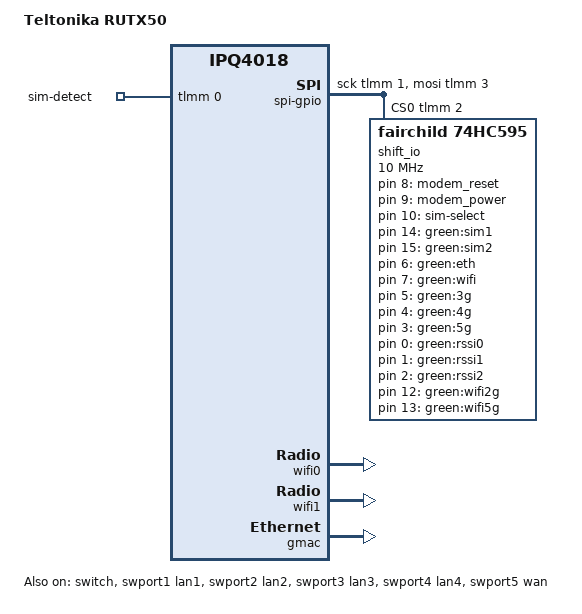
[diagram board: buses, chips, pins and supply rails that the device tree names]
// SPDX-License-Identifier: GPL-2.0-or-later OR MIT

#include "qcom-ipq4018-rutx.dtsi"

/ {
	model = "Teltonika RUTX50";
	compatible = "teltonika,rutx50";

	aliases {
		// TODO: Verify if the ethernet0 alias is needed
		ethernet0 = &gmac;
		led-boot = &led_rssi0;
		led-failsafe = &led_rssi0;
		led-running = &led_rssi0;
		led-upgrade = &led_rssi0;
		label-mac-device = &gmac;
	};

	soc {
		gpio-export {
			compatible = "gpio-export";
			#size-cells = <0>;

			gpio_modem_reset {
				gpio-export,name = "modem_reset";
				gpio-export,output = <0>;
				gpios = <&shift_io 8 GPIO_ACTIVE_HIGH>;
			};

			gpio_modem_power {
				gpio-export,name = "modem_power";
				gpio-export,output = <0>;
				gpios = <&shift_io 9 GPIO_ACTIVE_HIGH>;
			};

			gpio_out_1 {
				gpio-export,name = "sim-select";
				/* 0 = SIM1 ; 1 = SIM2 */
				gpio-export,output = <0>;
				gpios = <&shift_io 10 GPIO_ACTIVE_HIGH>;
			};

			gpio_in_1 {
				gpio-export,name = "sim-detect";
				gpio-export,input = <0>;
				gpios = <&tlmm 0 GPIO_ACTIVE_HIGH>;
			};
		};

		leds {
			compatible = "gpio-leds";

			led-0 {
				label = "green:sim1";
				gpios = <&shift_io 14 GPIO_ACTIVE_HIGH>;
			};

			led-1 {
				label = "green:sim2";
				gpios = <&shift_io 15 GPIO_ACTIVE_HIGH>;
			};

			led-2 {
				label = "green:eth";
				gpios = <&shift_io 6 GPIO_ACTIVE_HIGH>;
			};

			led-3 {
				label = "green:wifi";
				gpios = <&shift_io 7 GPIO_ACTIVE_HIGH>;
			};

			led-4 {
				label = "green:3g";
				gpios = <&shift_io 5 GPIO_ACTIVE_HIGH>;
			};

			led-5 {
				label = "green:4g";
				gpios = <&shift_io 4 GPIO_ACTIVE_HIGH>;
			};

			led-6 {
				label = "green:5g";
				gpios = <&shift_io 3 GPIO_ACTIVE_HIGH>;
			};

			led_rssi0: led-7 {
				label = "green:rssi0";
				gpios = <&shift_io 0 GPIO_ACTIVE_HIGH>;
			};

			led-8 {
				label = "green:rssi1";
				gpios = <&shift_io 1 GPIO_ACTIVE_HIGH>;
			};

			led-9 {
				label = "green:rssi2";
				gpios = <&shift_io 2 GPIO_ACTIVE_HIGH>;
			};

			led-10 {
				label = "green:wifi2g";
				gpios = <&shift_io 12 GPIO_ACTIVE_HIGH>;
			};

			led-11 {
				label = "green:wifi5g";
				gpios = <&shift_io 13 GPIO_ACTIVE_HIGH>;
			};
		};

		spi-gpio {
			compatible = "spi-gpio";
			#address-cells = <1>;
			#size-cells = <0>;

			gpio-sck = <&tlmm 1 GPIO_ACTIVE_HIGH>;
			gpio-mosi = <&tlmm 3 GPIO_ACTIVE_HIGH>;
			cs-gpios = <&tlmm 2 GPIO_ACTIVE_HIGH>;
			num-chipselects = <1>;

			shift_io: shift_io@0 {
				compatible = "fairchild,74hc595";
				reg = <0>;
				gpio-controller;
				#gpio-cells = <2>;
				/* Attn: This is specific to RUTX50 in Teltonika GPL */
				registers-number = <2>;
				spi-max-frequency = <10000000>;
			};
		};
	};
};

&wifi0 {
	status = "okay";
	qcom,ath10k-calibration-variant = "Teltonika-RUTX10";
};

&wifi1 {
	status = "okay";
	qcom,ath10k-calibration-variant = "Teltonika-RUTX10";
};

&gmac {
	status = "okay";
};

&switch {
	status = "okay";
};

&swport1 {
	status = "okay";

	label = "lan1";
};

&swport2 {
	status = "okay";

	label = "lan2";
};

&swport3 {
	status = "okay";

	label = "lan3";
};

&swport4 {
	status = "okay";

	label = "lan4";
};

&swport5 {
	status = "okay";

	label = "wan";
};
